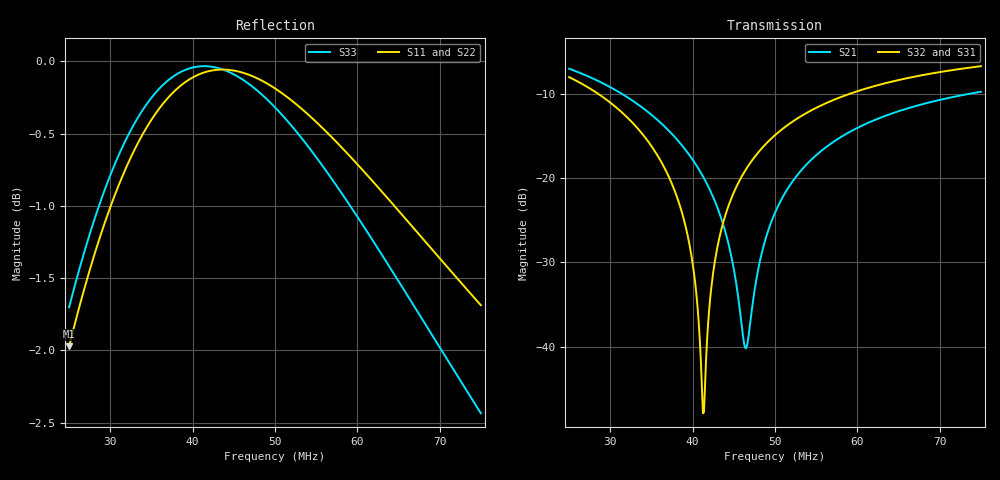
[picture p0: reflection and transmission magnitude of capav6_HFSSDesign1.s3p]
! Touchstone file exported from HFSS 2025.2.0
!  File:  C:/Users/32474/OneDrive - UCL/Documents/Ingenieur/MASTER1/Stage/HFSS/capav6.aedt
!  Generated:  03:15:10 PM Jul  8, 2026
!  Design:  HFSSDesign1
!  Project:  capav6
!  Setup:  Setup1
!  Solution:  Sweep
! Variables:
!  $H1_v = 530mm
!  $H2_v = 470mm
!  $H_diel = 6mm
!  $Hbig_c = 413.11mm
!  $Hperp_v = 460mm
!  $MyPermittivity = 9.1
!  $Rbig_c = 86mm
!  $Rext_v = 159.2mm
!  $Rint_v = 76.2mm
!  $Rlittle_c = 33.11mm
!  $Rperp_c = 33.11mm
!  $Rperp_v = 76.2mm
!  $z_diel = 190mm
!  $zperp_v = 380mm
# GHz S MA R 50.000000
! Terminal data exported
! Port[1] = 1
! Port[2] = 2
! Port[3] = 3
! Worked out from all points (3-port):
!   401 points, 25 MHz to 75 MHz, reference 50 ohm
!   strongest paths, dB at 25 MHz, 37.5 MHz, 50 MHz, 62.5 MHz, 75 MHz:
!     S32: -8.0, -20.7, -14.9, -9.0, -6.7
!     S31: -8.0, -20.7, -14.9, -9.0, -6.7
!     S21: -7.0, -14.8, -24.1, -12.9, -9.7
!   lowest |S11| = -2.0 dB at 25 MHz (marker M1), VSWR 8.84, Z = 5.7 - j4.6 ohm
!   |S11| at or under -10 dB: nowhere
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0.025  0.7968 -169.3  0.4462 -65.9  0.3979 -62.4
       0.4462 -65.9  0.7969 -169.4  0.3978 -62.4
       0.3979 -62.4  0.3978 -62.4  0.8221 -168.8
0.037375  0.9739 168.2  0.1853 -99.2  0.09527 -93.9
          0.1853 -99.2  0.9739 168.1  0.09511 -93.9
          0.09527 -93.9  0.09511 -93.9  0.9868 168.4
0.04  0.9873 163.3  0.1286 -104.8  0.03129 -95.8
      0.1286 -104.8  0.9873 163.2  0.03113 -95.7
      0.03129 -95.8  0.03113 -95.7  0.9951 163.5
0.04125  0.9909 161.0  0.1025 -106.9  0.004058 -38.0
         0.1025 -106.9  0.9909 161.0  0.004013 -35.7
         0.004058 -38.0  0.004013 -35.7  0.9962 161.3
0.043  0.9933 157.9  0.06696 -108.3  0.03863 64.6
       0.06696 -108.3  0.9933 157.9  0.0388 64.6
       0.03863 64.6  0.0388 64.6  0.9948 158.2
0.04475  0.993 154.9  0.03335 -104.0  0.07676 63.4
         0.03335 -104.0  0.993 154.9  0.07693 63.4
         0.07676 63.4  0.07693 63.4  0.9905 155.2
0.046375  0.9904 152.2  0.009829 -42.9  0.1105 60.7
          0.009829 -42.9  0.9904 152.2  0.1107 60.7
          0.1105 60.7  0.1107 60.7  0.9843 152.5
0.05  0.9787 146.5  0.06229 38.2  0.1797 54.0
      0.06229 38.2  0.9786 146.5  0.1798 54.0
      0.1797 54.0  0.1798 54.0  0.964 146.9
0.058375  0.9319 135.0  0.1798 27.8  0.3076 39.4
          0.1798 27.8  0.9319 134.9  0.3078 39.4
          0.3076 39.4  0.3078 39.4  0.8978 135.8
0.075  0.8234 117.6  0.3257 3.8  0.4619 16.8
       0.3257 3.8  0.8233 117.5  0.462 16.8
       0.4619 16.8  0.462 16.8  0.7554 119.8
